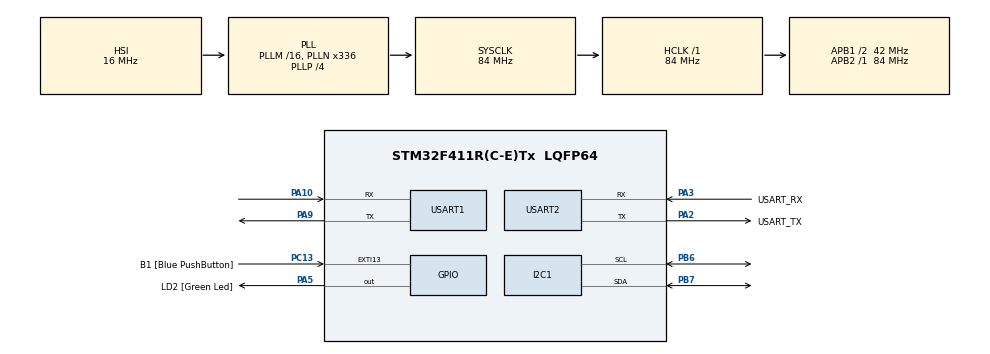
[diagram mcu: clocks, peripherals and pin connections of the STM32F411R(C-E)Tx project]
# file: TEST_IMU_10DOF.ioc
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I2C1.I2C_Mode=I2C_Fast
Mcu.Family=STM32F4
Mcu.Name=STM32F411R(C-E)Tx
Mcu.Package=LQFP64
NVIC.I2C1_ER_IRQn=true\:0\:0\:false\:false\:true\:true\:true\:true
NVIC.I2C1_EV_IRQn=true\:0\:0\:false\:false\:true\:true\:true\:true
NVIC.PriorityGroup=NVIC_PRIORITYGROUP_0
NVIC.USART1_IRQn=true\:0\:0\:false\:false\:true\:true\:true\:true
PA10.Mode=Asynchronous
PA10.Signal=USART1_RX
PA13.GPIO_Label=TMS
PA13.Mode=Serial_Wire
PA13.Signal=SYS_JTMS-SWDIO
PA14.GPIO_Label=TCK
PA14.Mode=Serial_Wire
PA14.Signal=SYS_JTCK-SWCLK
PA2.GPIO_Label=USART_TX
PA2.Mode=Asynchronous
PA2.Signal=USART2_TX
PA3.GPIO_Label=USART_RX
PA3.Mode=Asynchronous
PA3.Signal=USART2_RX
PA5.GPIO_Label=LD2 [Green Led]
PA5.Signal=GPIO_Output
PA9.Mode=Asynchronous
PA9.Signal=USART1_TX
PB3.GPIO_Label=SWO
PB3.Signal=SYS_JTDO-SWO
PB6.Mode=I2C
PB6.Signal=I2C1_SCL
PB7.Mode=I2C
PB7.Signal=I2C1_SDA
PC13-ANTI_TAMP.GPIO_Label=B1 [Blue PushButton]
PC13-ANTI_TAMP.GPIO_ModeDefaultEXTI=GPIO_MODE_IT_FALLING
PC13-ANTI_TAMP.Signal=GPXTI13
PC14-OSC32_IN.Mode=LSE-External-Oscillator
PC14-OSC32_IN.Signal=RCC_OSC32_IN
PC15-OSC32_OUT.Mode=LSE-External-Oscillator
PC15-OSC32_OUT.Signal=RCC_OSC32_OUT
PH0\ -\ OSC_IN.Mode=HSE-External-Clock-Source
PH0\ -\ OSC_IN.Signal=RCC_OSC_IN
PH1\ -\ OSC_OUT.Mode=HSE-External-Clock-Source
PH1\ -\ OSC_OUT.Signal=RCC_OSC_OUT
ProjectManager.HeapSize=0x200
ProjectManager.StackSize=0x400
ProjectManager.TargetToolchain=STM32CubeIDE
RCC.48MHZClocksFreq_Value=84000000
RCC.AHBFreq_Value=84000000
RCC.APB1CLKDivider=RCC_HCLK_DIV2
RCC.APB1Freq_Value=42000000
RCC.APB1TimFreq_Value=84000000
RCC.APB2Freq_Value=84000000
RCC.APB2TimFreq_Value=84000000
RCC.CortexFreq_Value=84000000
RCC.FLatency-AdvancedSettings=FLASH_LATENCY_2
RCC.HCLKFreq_Value=84000000
RCC.HSE_VALUE=8000000
RCC.HSI_VALUE=16000000
RCC.PLLN=336
RCC.PLLP=RCC_PLLP_DIV4
RCC.SYSCLKFreq_VALUE=84000000
RCC.SYSCLKSource=RCC_SYSCLKSOURCE_PLLCLK
RCC.VCOOutputFreq_Value=336000000
USART1.VirtualMode=VM_ASYNC
USART2.VirtualMode=VM_ASYNC
board=NUCLEO-F411RE

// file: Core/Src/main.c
/* USER CODE BEGIN Header */
/**
  ******************************************************************************
  * @file           : main.c
  * @brief          : Main program body
  ******************************************************************************
  * @attention
  *
  * Copyright (c) 2022 STMicroelectronics.
  * All rights reserved.
  *
  * This software is licensed under terms that can be found in the LICENSE file
  * in the root directory of this software component.
  * If no LICENSE file comes with this software, it is provided AS-IS.
  *
  ******************************************************************************
  */
/* USER CODE END Header */
#include "main.h"

/* USER CODE BEGIN Includes */
#include "IMU_10DOF.h"
#include "math.h"
#include "types.h"
#include "data.h"

/* USER CODE END Includes */

I2C_HandleTypeDef hi2c1;

UART_HandleTypeDef huart1;
UART_HandleTypeDef huart2;

/* USER CODE BEGIN PV */

char mess[30];
char mess1[30];
char mess2[30];
char bufStr[40];
int g_n=0;
char Devices[10];
int i;
double theta;
double accel[3];
int g;
double b;
double gyr[3];
double mag[3];
uint8_t pData[10];
//TS_StateTypeDef g_ts;

/* USER CODE END PV */

void SystemClock_Config(void);
static void MX_GPIO_Init(void);
static void MX_USART2_UART_Init(void);
static void MX_I2C1_Init(void);
static void MX_USART1_UART_Init(void);

/* USER CODE BEGIN 0 */

int __io_putchar(int ch)
{
	HAL_UART_Transmit(&huart2, (uint8_t*)&ch, 1, HAL_MAX_DELAY);

	return ch;
}

/* USER CODE END 0 */

int main(void)
{
  /* USER CODE BEGIN 1 */

	TypeDataCansat *pDataCansat;

	pDataCansat = DATA_getDataCansat();

  /* USER CODE END 1 */

  /* MCU Configuration--------------------------------------------------------*/

  /* Reset of all peripherals, Initializes the Flash interface and the Systick. */
  HAL_Init();

  /* Configure the system clock */
  SystemClock_Config();

  /* Initialize all configured peripherals */
  MX_GPIO_Init();
  MX_USART2_UART_Init();
  MX_I2C1_Init();
  MX_USART1_UART_Init();
  /* USER CODE BEGIN 2 */

     if ( HAL_I2C_Mem_Read ( &hi2c1, MPU_ADD, WHO_AM_I_MPU9250, 1, pData, 1, 10)!= HAL_OK){
    	 printf("erreur d'initialisation de l'IMU 10DOF \r\n");
          //Error_Handler();
     }
     else{
    	 printf("IMU 10DOF opperationnel \r\n");
     }
  sprintf(mess1,"%2d",pData[0]);
  printf(mess1);
  Init( &hi2c1);

  //HAL_I2C_Master_Receive(&hi2c1, DevAddress, pData, Size, Timeout);

  /* USER CODE END 2 */

  /* Infinite loop */
  /* USER CODE BEGIN WHILE */
  while (1)
  {

	  Measure_T(&hi2c1,&theta);

	  //printf("test \r\n");
	  //printf("Temperature %2.2d C\r\n",(int)(theta));

	  Measure_A(&hi2c1,pDataCansat);

	  printf("accel sur x = %d g \r\n",pDataCansat->IMU.AccelerometerData.x);

	  printf("accel sur y = %d g \r\n",pDataCansat->IMU.AccelerometerData.y);

	  sprintf(mess2,"accel sur z = %d g\r\n",pDataCansat->IMU.AccelerometerData.z);
	  printf(mess2);
	  g=sqrt((pDataCansat->IMU.AccelerometerData.x)*(pDataCansat->IMU.AccelerometerData.x)+(pDataCansat->IMU.AccelerometerData.y)*(pDataCansat->IMU.AccelerometerData.y)+(pDataCansat->IMU.AccelerometerData.z)*(pDataCansat->IMU.AccelerometerData.z));
	  sprintf(mess2,"a= %2.2d g \r\n",g);
	  printf(mess2);

	  Measure_M(&hi2c1,mag);
	  sprintf(mess2,"mag x = %2.2d \r\n",(int)(*mag));
	  printf(mess2);
	  sprintf(mess2,"mag y = %2.2d\r\n ",(int)(*(mag+1)));
	  printf(mess2);
	  sprintf(mess2,"mag z = %2.2d \r\n",(int)(*(mag+2)));
	  printf(mess2);

	  b=sqrt((mag[0])*(mag[0])+(mag[1])*(mag[1])+(mag[2])*(mag[2]));
	  sprintf(mess2,"B= %2.2d uT \r\n",(int)(b));
	  printf(mess2);

	  HAL_Delay(100);

    /* USER CODE END WHILE */

  }
}

void SystemClock_Config(void)
{
  RCC_OscInitTypeDef RCC_OscInitStruct = {0};
  RCC_ClkInitTypeDef RCC_ClkInitStruct = {0};

  /** Configure the main internal regulator output voltage
  */
  __HAL_RCC_PWR_CLK_ENABLE();
  __HAL_PWR_VOLTAGESCALING_CONFIG(PWR_REGULATOR_VOLTAGE_SCALE1);

  /** Initializes the RCC Oscillators according to the specified parameters
  * in the RCC_OscInitTypeDef structure.
  */
  RCC_OscInitStruct.OscillatorType = RCC_OSCILLATORTYPE_HSI;
  RCC_OscInitStruct.HSIState = RCC_HSI_ON;
  RCC_OscInitStruct.HSICalibrationValue = RCC_HSICALIBRATION_DEFAULT;
  RCC_OscInitStruct.PLL.PLLState = RCC_PLL_ON;
  RCC_OscInitStruct.PLL.PLLSource = RCC_PLLSOURCE_HSI;
  RCC_OscInitStruct.PLL.PLLM = 16;
  RCC_OscInitStruct.PLL.PLLN = 336;
  RCC_OscInitStruct.PLL.PLLP = RCC_PLLP_DIV4;
  RCC_OscInitStruct.PLL.PLLQ = 4;
  if (HAL_RCC_OscConfig(&RCC_OscInitStruct) != HAL_OK)
  {
    Error_Handler();
  }

  /** Initializes the CPU, AHB and APB buses clocks
  */
  RCC_ClkInitStruct.ClockType = RCC_CLOCKTYPE_HCLK|RCC_CLOCKTYPE_SYSCLK
                              |RCC_CLOCKTYPE_PCLK1|RCC_CLOCKTYPE_PCLK2;
  RCC_ClkInitStruct.SYSCLKSource = RCC_SYSCLKSOURCE_PLLCLK;
  RCC_ClkInitStruct.AHBCLKDivider = RCC_SYSCLK_DIV1;
  RCC_ClkInitStruct.APB1CLKDivider = RCC_HCLK_DIV2;
  RCC_ClkInitStruct.APB2CLKDivider = RCC_HCLK_DIV1;

  if (HAL_RCC_ClockConfig(&RCC_ClkInitStruct, FLASH_LATENCY_2) != HAL_OK)
  {
    Error_Handler();
  }
}

static void MX_I2C1_Init(void)
{

  hi2c1.Instance = I2C1;
  hi2c1.Init.ClockSpeed = 400000;
  hi2c1.Init.DutyCycle = I2C_DUTYCYCLE_2;
  hi2c1.Init.OwnAddress1 = 0;
  hi2c1.Init.AddressingMode = I2C_ADDRESSINGMODE_7BIT;
  hi2c1.Init.DualAddressMode = I2C_DUALADDRESS_DISABLE;
  hi2c1.Init.OwnAddress2 = 0;
  hi2c1.Init.GeneralCallMode = I2C_GENERALCALL_DISABLE;
  hi2c1.Init.NoStretchMode = I2C_NOSTRETCH_DISABLE;
  if (HAL_I2C_Init(&hi2c1) != HAL_OK)
  {
    Error_Handler();
  }

}

static void MX_USART1_UART_Init(void)
{

  huart1.Instance = USART1;
  huart1.Init.BaudRate = 115200;
  huart1.Init.WordLength = UART_WORDLENGTH_8B;
  huart1.Init.StopBits = UART_STOPBITS_1;
  huart1.Init.Parity = UART_PARITY_NONE;
  huart1.Init.Mode = UART_MODE_TX_RX;
  huart1.Init.HwFlowCtl = UART_HWCONTROL_NONE;
  huart1.Init.OverSampling = UART_OVERSAMPLING_16;
  if (HAL_UART_Init(&huart1) != HAL_OK)
  {
    Error_Handler();
  }

}

static void MX_USART2_UART_Init(void)
{

  huart2.Instance = USART2;
  huart2.Init.BaudRate = 115200;
  huart2.Init.WordLength = UART_WORDLENGTH_8B;
  huart2.Init.StopBits = UART_STOPBITS_1;
  huart2.Init.Parity = UART_PARITY_NONE;
  huart2.Init.Mode = UART_MODE_TX_RX;
  huart2.Init.HwFlowCtl = UART_HWCONTROL_NONE;
  huart2.Init.OverSampling = UART_OVERSAMPLING_16;
  if (HAL_UART_Init(&huart2) != HAL_OK)
  {
    Error_Handler();
  }

}

static void MX_GPIO_Init(void)
{
  GPIO_InitTypeDef GPIO_InitStruct = {0};

  /* GPIO Ports Clock Enable */
  __HAL_RCC_GPIOC_CLK_ENABLE();
  __HAL_RCC_GPIOH_CLK_ENABLE();
  __HAL_RCC_GPIOA_CLK_ENABLE();
  __HAL_RCC_GPIOB_CLK_ENABLE();

  /*Configure GPIO pin Output Level */
  HAL_GPIO_WritePin(LD2_GPIO_Port, LD2_Pin, GPIO_PIN_RESET);

  /*Configure GPIO pin : B1_Pin */
  GPIO_InitStruct.Pin = B1_Pin;
  GPIO_InitStruct.Mode = GPIO_MODE_IT_FALLING;
  GPIO_InitStruct.Pull = GPIO_NOPULL;
  HAL_GPIO_Init(B1_GPIO_Port, &GPIO_InitStruct);

  /*Configure GPIO pin : LD2_Pin */
  GPIO_InitStruct.Pin = LD2_Pin;
  GPIO_InitStruct.Mode = GPIO_MODE_OUTPUT_PP;
  GPIO_InitStruct.Pull = GPIO_NOPULL;
  GPIO_InitStruct.Speed = GPIO_SPEED_FREQ_LOW;
  HAL_GPIO_Init(LD2_GPIO_Port, &GPIO_InitStruct);

}

void Error_Handler(void)
{
  __disable_irq();
  while (1)
  {
  }
}
